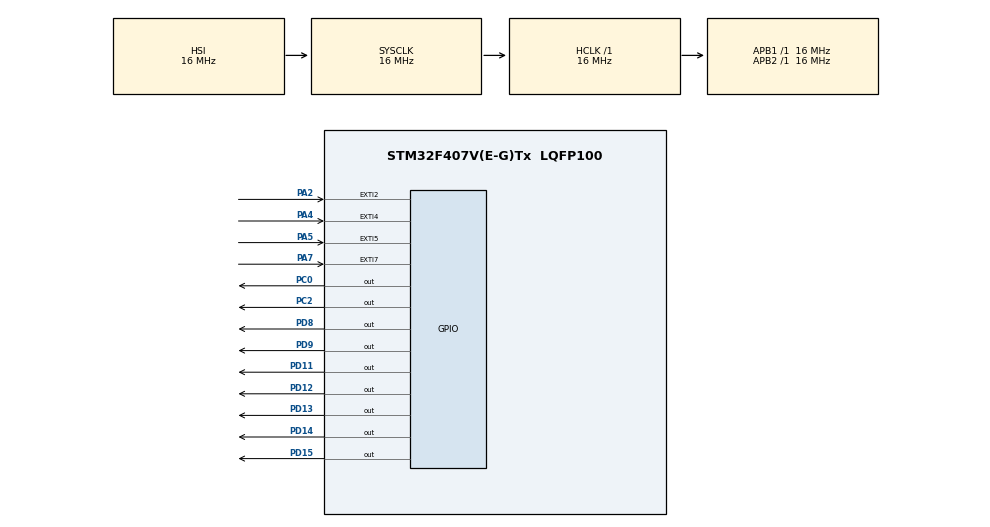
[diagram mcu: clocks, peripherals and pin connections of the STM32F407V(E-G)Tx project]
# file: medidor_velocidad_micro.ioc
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Mcu.Family=STM32F4
Mcu.Name=STM32F407V(E-G)Tx
Mcu.Package=LQFP100
NVIC.EXTI2_IRQn=true\:0\:0\:false\:false\:true\:true\:true\:true
NVIC.EXTI4_IRQn=true\:0\:0\:false\:false\:true\:true\:true\:true
NVIC.EXTI9_5_IRQn=true\:0\:0\:false\:false\:true\:true\:true\:true
NVIC.PriorityGroup=NVIC_PRIORITYGROUP_4
NVIC.TIM2_IRQn=true\:0\:0\:false\:false\:true\:true\:true\:true
NVIC.TIM8_TRG_COM_TIM14_IRQn=true\:0\:0\:false\:false\:true\:true\:true\:true
PA2.GPIO_ModeDefaultEXTI=GPIO_MODE_IT_FALLING
PA2.Signal=GPXTI2
PA4.GPIO_ModeDefaultEXTI=GPIO_MODE_IT_FALLING
PA4.Signal=GPXTI4
PA5.GPIO_ModeDefaultEXTI=GPIO_MODE_IT_FALLING
PA5.Signal=GPXTI5
PA7.Signal=GPXTI7
PB11.Signal=S_TIM2_CH4
PC0.Signal=GPIO_Output
PC2.Signal=GPIO_Output
PD11.Signal=GPIO_Output
PD12.Signal=GPIO_Output
PD13.Signal=GPIO_Output
PD14.Signal=GPIO_Output
PD15.Signal=GPIO_Output
PD8.Signal=GPIO_Output
PD9.Signal=GPIO_Output
ProjectManager.HeapSize=0x200
ProjectManager.StackSize=0x400
ProjectManager.TargetToolchain=STM32CubeIDE
RCC.AHBFreq_Value=16000000
RCC.APB1Freq_Value=16000000
RCC.APB2Freq_Value=16000000
RCC.CortexFreq_Value=16000000
RCC.HSE_VALUE=25000000
RCC.HSI_VALUE=16000000
RCC.LSE_VALUE=32768
RCC.SYSCLKFreq_VALUE=16000000
RCC.VCOOutputFreq_Value=192000000
SH.S_TIM2_CH4.0=TIM2_CH4
TIM14.Prescaler=15999
TIM2.Period=65535
TIM2.Prescaler=15999
VP_TIM14_VS_ClockSourceINT.Mode=Enable_Timer
VP_TIM2_VS_ClockSourceINT.Mode=Internal
board=custom

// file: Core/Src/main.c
/* USER CODE BEGIN Header */
/**
 ******************************************************************************
 * @file           : main.c
 * @brief          : Main program body
 ******************************************************************************
 * @attention
 *
 * Copyright (c) 2025 STMicroelectronics.
 * All rights reserved.
 *
 * This software is licensed under terms that can be found in the LICENSE file
 * in the root directory of this software component.
 * If no LICENSE file comes with this software, it is provided AS-IS.
 *
 ******************************************************************************
 */
/* USER CODE END Header */
#include "main.h"

/* USER CODE BEGIN Includes */
#include <stdio.h>
#include <stdbool.h>
#include "Statechart_required.h"
/* USER CODE END Includes */

/* USER CODE BEGIN PD */
#define LONGITUD_PISTA 100 // Dato dado por la catedra
#define TIEMPO_REBOTE 50 // Tiempo estimado de rebote 50ms
#define DIGITOS_DISPLAY 4
#define APAGADO 0xFF // Fuera del rango de un dígito
/* USER CODE END PD */

TIM_HandleTypeDef htim2;
TIM_HandleTypeDef htim14;

/* USER CODE BEGIN PV */
Statechart sc;
volatile bool solicitud_pendiente = false;
volatile bool filtrando = false;
volatile bool es_timeout_delay = false;
volatile uint32_t tiempo_inicio = 0; // Tiempo en el que se empieza a filtrar
volatile uint16_t boton_presionado = 0xFF; // Guarda el botón actual para el antirebote
volatile sc_eventid current_evid = 0;
volatile uint32_t tiempos[DIGITOS_DISPLAY];
volatile uint32_t tiempo_promedio;
volatile uint32_t velocidad_promedio;
volatile uint32_t tiempo_total;
volatile uint8_t display[DIGITOS_DISPLAY];
/* USER CODE END PV */

void SystemClock_Config(void);
static void MX_GPIO_Init(void);
static void MX_TIM2_Init(void);
static void MX_TIM14_Init(void);
/* USER CODE BEGIN PFP */
uint32_t get_tiempo_promedio(const Statechart* handle);
void set_display(uint32_t dato);
void codificar_digito_7seg(uint8_t digito);
void filtrar_rebotes(void);
/* USER CODE END PFP */

int main(void)
{

	/* MCU Configuration--------------------------------------------------------*/

	/* Reset of all peripherals, Initializes the Flash interface and the Systick. */
	HAL_Init();

	/* Configure the system clock */
	SystemClock_Config();

	/* Initialize all configured peripherals */
	MX_GPIO_Init();
	MX_TIM2_Init();
	MX_TIM14_Init();
	/* USER CODE BEGIN 2 */
	statechart_init(&sc); // Prepara la FSM para su ejecución
	statechart_enter(&sc);

	/* USER CODE END 2 */

	/* Infinite loop */
	while (1)
	{

		/* USER CODE BEGIN 3 */
		if (filtrando) {
			filtrar_rebotes();
		}

		// Si hubo una solicitud ejecutamos la operación del botón pulsado y luego reseteamos el flag de solicitud
		if (solicitud_pendiente) {
			switch (boton_presionado) {
			case GPIO_PIN_7: // Sensor activado
				statechart_raise_paso_el_auto(&sc);
				break;
			case GPIO_PIN_2:
				statechart_boton_raise_velocidad_pressed(&sc);
				break;
			case GPIO_PIN_4:
				statechart_boton_raise_tiempo_total_pressed(&sc);
				break;
			case GPIO_PIN_5:
				statechart_boton_raise_reinicio_pressed(&sc);
				break;
			default:
				break;
			}
			solicitud_pendiente = false;
		}
	}
	/* USER CODE END 3 */
}

void SystemClock_Config(void)
{
	RCC_OscInitTypeDef RCC_OscInitStruct = {0};
	RCC_ClkInitTypeDef RCC_ClkInitStruct = {0};

	/** Configure the main internal regulator output voltage
	 */
	__HAL_RCC_PWR_CLK_ENABLE();
	__HAL_PWR_VOLTAGESCALING_CONFIG(PWR_REGULATOR_VOLTAGE_SCALE1);

	/** Initializes the RCC Oscillators according to the specified parameters
	 * in the RCC_OscInitTypeDef structure.
	 */
	RCC_OscInitStruct.OscillatorType = RCC_OSCILLATORTYPE_HSI;
	RCC_OscInitStruct.HSIState = RCC_HSI_ON;
	RCC_OscInitStruct.HSICalibrationValue = RCC_HSICALIBRATION_DEFAULT;
	RCC_OscInitStruct.PLL.PLLState = RCC_PLL_NONE;
	if (HAL_RCC_OscConfig(&RCC_OscInitStruct) != HAL_OK)
	{
		Error_Handler();
	}

	/** Initializes the CPU, AHB and APB buses clocks
	 */
	RCC_ClkInitStruct.ClockType = RCC_CLOCKTYPE_HCLK|RCC_CLOCKTYPE_SYSCLK
			|RCC_CLOCKTYPE_PCLK1|RCC_CLOCKTYPE_PCLK2;
	RCC_ClkInitStruct.SYSCLKSource = RCC_SYSCLKSOURCE_HSI;
	RCC_ClkInitStruct.AHBCLKDivider = RCC_SYSCLK_DIV1;
	RCC_ClkInitStruct.APB1CLKDivider = RCC_HCLK_DIV1;
	RCC_ClkInitStruct.APB2CLKDivider = RCC_HCLK_DIV1;

	if (HAL_RCC_ClockConfig(&RCC_ClkInitStruct, FLASH_LATENCY_0) != HAL_OK)
	{
		Error_Handler();
	}
}

static void MX_TIM2_Init(void)
{

	TIM_ClockConfigTypeDef sClockSourceConfig = {0};
	TIM_MasterConfigTypeDef sMasterConfig = {0};

	htim2.Instance = TIM2;
	htim2.Init.Prescaler = 15999;
	htim2.Init.CounterMode = TIM_COUNTERMODE_UP;
	htim2.Init.Period = 65535;
	htim2.Init.ClockDivision = TIM_CLOCKDIVISION_DIV1;
	htim2.Init.AutoReloadPreload = TIM_AUTORELOAD_PRELOAD_DISABLE;
	if (HAL_TIM_Base_Init(&htim2) != HAL_OK)
	{
		Error_Handler();
	}
	sClockSourceConfig.ClockSource = TIM_CLOCKSOURCE_INTERNAL;
	if (HAL_TIM_ConfigClockSource(&htim2, &sClockSourceConfig) != HAL_OK)
	{
		Error_Handler();
	}
	sMasterConfig.MasterOutputTrigger = TIM_TRGO_RESET;
	sMasterConfig.MasterSlaveMode = TIM_MASTERSLAVEMODE_DISABLE;
	if (HAL_TIMEx_MasterConfigSynchronization(&htim2, &sMasterConfig) != HAL_OK)
	{
		Error_Handler();
	}

}

static void MX_TIM14_Init(void)
{

	htim14.Instance = TIM14;
	htim14.Init.Prescaler = 15999;
	htim14.Init.CounterMode = TIM_COUNTERMODE_UP;
	htim14.Init.Period = 65535;
	htim14.Init.ClockDivision = TIM_CLOCKDIVISION_DIV1;
	htim14.Init.AutoReloadPreload = TIM_AUTORELOAD_PRELOAD_DISABLE;
	if (HAL_TIM_Base_Init(&htim14) != HAL_OK)
	{
		Error_Handler();
	}

}

static void MX_GPIO_Init(void)
{
	GPIO_InitTypeDef GPIO_InitStruct = {0};

	/* GPIO Ports Clock Enable */
	__HAL_RCC_GPIOC_CLK_ENABLE();
	__HAL_RCC_GPIOA_CLK_ENABLE();
	__HAL_RCC_GPIOB_CLK_ENABLE();
	__HAL_RCC_GPIOD_CLK_ENABLE();

	/*Configure GPIO pin Output Level */
	HAL_GPIO_WritePin(GPIOC, GPIO_PIN_0|GPIO_PIN_2, GPIO_PIN_RESET);

	/*Configure GPIO pin Output Level */
	HAL_GPIO_WritePin(GPIOD, GPIO_PIN_8|GPIO_PIN_9|GPIO_PIN_11|GPIO_PIN_12
			|GPIO_PIN_13|GPIO_PIN_14|GPIO_PIN_15, GPIO_PIN_RESET);

	/*Configure GPIO pins : PC0 PC2 */
	GPIO_InitStruct.Pin = GPIO_PIN_0|GPIO_PIN_2;
	GPIO_InitStruct.Mode = GPIO_MODE_OUTPUT_PP;
	GPIO_InitStruct.Pull = GPIO_NOPULL;
	GPIO_InitStruct.Speed = GPIO_SPEED_FREQ_LOW;
	HAL_GPIO_Init(GPIOC, &GPIO_InitStruct);

	/*Configure GPIO pins : PA2 PA4 PA5 */
	GPIO_InitStruct.Pin = GPIO_PIN_2|GPIO_PIN_4|GPIO_PIN_5;
	GPIO_InitStruct.Mode = GPIO_MODE_IT_FALLING;
	GPIO_InitStruct.Pull = GPIO_NOPULL;
	HAL_GPIO_Init(GPIOA, &GPIO_InitStruct);

	/*Configure GPIO pin : PA7 */
	GPIO_InitStruct.Pin = GPIO_PIN_7;
	GPIO_InitStruct.Mode = GPIO_MODE_IT_RISING;
	GPIO_InitStruct.Pull = GPIO_NOPULL;
	HAL_GPIO_Init(GPIOA, &GPIO_InitStruct);

	/*Configure GPIO pins : PD8 PD9 PD11 PD12
                           PD13 PD14 PD15 */
	GPIO_InitStruct.Pin = GPIO_PIN_8|GPIO_PIN_9|GPIO_PIN_11|GPIO_PIN_12
			|GPIO_PIN_13|GPIO_PIN_14|GPIO_PIN_15;
	GPIO_InitStruct.Mode = GPIO_MODE_OUTPUT_PP;
	GPIO_InitStruct.Pull = GPIO_NOPULL;
	GPIO_InitStruct.Speed = GPIO_SPEED_FREQ_LOW;
	HAL_GPIO_Init(GPIOD, &GPIO_InitStruct);

	/* EXTI interrupt init*/
	HAL_NVIC_SetPriority(EXTI2_IRQn, 0, 0);
	HAL_NVIC_EnableIRQ(EXTI2_IRQn);

	HAL_NVIC_SetPriority(EXTI4_IRQn, 0, 0);
	HAL_NVIC_EnableIRQ(EXTI4_IRQn);

	HAL_NVIC_SetPriority(EXTI9_5_IRQn, 0, 0);
	HAL_NVIC_EnableIRQ(EXTI9_5_IRQn);

}

/* USER CODE BEGIN 4 */
void statechart_iniciar_timer(Statechart* handle) {
	HAL_TIM_Base_Start(&htim2); // Inicio el Temporizador
	__HAL_TIM_SET_COUNTER(&htim2, 0);
	//	__HAL_TIM_SetAutoreload(&htim14);
}

void statechart_reiniciar_display(Statechart* handle) {
	for (uint8_t i= 0; i < DIGITOS_DISPLAY; i++) {
		display[i] = 0;
	}

	HAL_GPIO_WritePin(GPIOC, GPIO_PIN_2, GPIO_PIN_SET);
	HAL_GPIO_WritePin(GPIOC, GPIO_PIN_0, GPIO_PIN_SET);
	codificar_digito_7seg(APAGADO);

	HAL_GPIO_WritePin(GPIOC, GPIO_PIN_2, GPIO_PIN_SET);
	HAL_GPIO_WritePin(GPIOC, GPIO_PIN_0, GPIO_PIN_RESET);
	codificar_digito_7seg(APAGADO);

	HAL_GPIO_WritePin(GPIOC, GPIO_PIN_2, GPIO_PIN_RESET);
	HAL_GPIO_WritePin(GPIOC, GPIO_PIN_0, GPIO_PIN_SET);
	codificar_digito_7seg(APAGADO);

	HAL_GPIO_WritePin(GPIOC, GPIO_PIN_2, GPIO_PIN_RESET);
	HAL_GPIO_WritePin(GPIOC, GPIO_PIN_0, GPIO_PIN_RESET);
	codificar_digito_7seg(APAGADO);
}

void statechart_reiniciar_timer(Statechart* handle) {
	HAL_TIM_Base_Stop(&htim2);
	__HAL_TIM_SET_COUNTER(&htim2, 0);
}

void statechart_registrar_tiempo(Statechart* handle) {
	uint32_t tiempo_actual = __HAL_TIM_GET_COUNTER(&htim2) / 1000; // Registro el tiempo de cada vuelta en segundos.
	__HAL_TIM_SET_COUNTER(&htim2, 0);
	tiempos[statechart_get_cantidad_vueltas(handle)] = tiempo_actual; // Obtener cantidad de vueltas de interface de statechart
	set_display(tiempo_actual);
}

void statechart_registrar_velocidad(Statechart* handle) {
	tiempo_promedio = get_tiempo_promedio(handle);
	velocidad_promedio = LONGITUD_PISTA / tiempo_promedio;
	set_display(velocidad_promedio);
}

void statechart_mostrar_velocidad(Statechart* handle) {
	set_display(velocidad_promedio);
}

void statechart_mostrar_tiempo_total(Statechart* handle) {
	set_display(tiempo_total);
}

void statechart_set_timer(Statechart* handle, const sc_eventid evid, const sc_time time_ms, const sc_boolean periodic)
{
	current_evid = evid;
	__HAL_TIM_SET_AUTORELOAD(&htim14, time_ms); // Establece el periodo con el dato del delay de StateChart
	HAL_TIM_Base_Start_IT(&htim14); // Activa el temporizador con interrupcion
}

void statechart_unset_timer(Statechart* handle, const sc_eventid evid)
{
	HAL_TIM_Base_Stop_IT(&htim14);
	__HAL_TIM_CLEAR_IT(&htim14, TIM_IT_UPDATE);
	current_evid = 0;
}

void statechart_prender_LED1(Statechart* handle) {
	HAL_GPIO_WritePin(GPIOC, GPIO_PIN_2, GPIO_PIN_SET);
	HAL_GPIO_WritePin(GPIOC, GPIO_PIN_0, GPIO_PIN_SET);
	codificar_digito_7seg(display[0]);
}

void statechart_prender_LED2(Statechart* handle) {
	HAL_GPIO_WritePin(GPIOC, GPIO_PIN_2, GPIO_PIN_SET);
	HAL_GPIO_WritePin(GPIOC, GPIO_PIN_0, GPIO_PIN_RESET);
	codificar_digito_7seg(display[1]);
}

void statechart_prender_LED3(Statechart* handle) {
	HAL_GPIO_WritePin(GPIOC, GPIO_PIN_2, GPIO_PIN_RESET);
	HAL_GPIO_WritePin(GPIOC, GPIO_PIN_0, GPIO_PIN_SET);
	codificar_digito_7seg(display[2]);
}

void statechart_prender_LED4(Statechart* handle) {
	HAL_GPIO_WritePin(GPIOC, GPIO_PIN_2, GPIO_PIN_RESET);
	HAL_GPIO_WritePin(GPIOC, GPIO_PIN_0, GPIO_PIN_RESET);
	codificar_digito_7seg(display[3]);
}

// Código que se ejecuta cuando se detecta la interrupción
void HAL_GPIO_EXTI_Callback(uint16_t GPIO_Pin)
{
	if (!filtrando) {
		tiempo_inicio = HAL_GetTick();
		boton_presionado = GPIO_Pin;
		filtrando = true;
	}
}

void HAL_TIM_PeriodElapsedCallback(TIM_HandleTypeDef* htim)
{
	if (htim->Instance == TIM14) {
		statechart_raise_time_event(&sc, current_evid);
	}
}

// Filtramos los rebotes
void filtrar_rebotes(void) {
	uint32_t tiempo_actual = HAL_GetTick();
	bool boton_estable = (tiempo_actual - tiempo_inicio) >= TIEMPO_REBOTE;
	if (boton_estable) {
		GPIO_PinState estado_boton = HAL_GPIO_ReadPin(GPIOA, boton_presionado);
		// Si está presionado consideramos que hay una solicitud para avanzar en la secuencia
		if (estado_boton == GPIO_PIN_RESET) {
			// Indicamos que hay una solicitud
			solicitud_pendiente = true;
		}
		filtrando = false;
	}
}

void codificar_digito_7seg(uint8_t digito) {
	switch (digito) {
	case 0:
		HAL_GPIO_WritePin(GPIOD, GPIO_PIN_14, GPIO_PIN_SET);
		HAL_GPIO_WritePin(GPIOD, GPIO_PIN_8, GPIO_PIN_SET);
		HAL_GPIO_WritePin(GPIOD, GPIO_PIN_11, GPIO_PIN_SET);
		HAL_GPIO_WritePin(GPIOD, GPIO_PIN_9, GPIO_PIN_SET);
		HAL_GPIO_WritePin(GPIOD, GPIO_PIN_13, GPIO_PIN_SET);
		HAL_GPIO_WritePin(GPIOD, GPIO_PIN_15, GPIO_PIN_SET);
		HAL_GPIO_WritePin(GPIOD, GPIO_PIN_12, GPIO_PIN_RESET);
		break;
	case 1:
		HAL_GPIO_WritePin(GPIOD, GPIO_PIN_8, GPIO_PIN_SET);
		HAL_GPIO_WritePin(GPIOD, GPIO_PIN_11, GPIO_PIN_SET);
		HAL_GPIO_WritePin(GPIOD, GPIO_PIN_14, GPIO_PIN_RESET);
		HAL_GPIO_WritePin(GPIOD, GPIO_PIN_15, GPIO_PIN_RESET);
		HAL_GPIO_WritePin(GPIOD, GPIO_PIN_12, GPIO_PIN_RESET);
		HAL_GPIO_WritePin(GPIOD, GPIO_PIN_13, GPIO_PIN_RESET);
		HAL_GPIO_WritePin(GPIOD, GPIO_PIN_9, GPIO_PIN_RESET);
		break;
	case 2:
		HAL_GPIO_WritePin(GPIOD, GPIO_PIN_14, GPIO_PIN_SET);
		HAL_GPIO_WritePin(GPIOD, GPIO_PIN_8, GPIO_PIN_SET);
		HAL_GPIO_WritePin(GPIOD, GPIO_PIN_12, GPIO_PIN_SET);
		HAL_GPIO_WritePin(GPIOD, GPIO_PIN_13, GPIO_PIN_SET);
		HAL_GPIO_WritePin(GPIOD, GPIO_PIN_9, GPIO_PIN_SET);
		HAL_GPIO_WritePin(GPIOD, GPIO_PIN_15, GPIO_PIN_RESET);
		HAL_GPIO_WritePin(GPIOD, GPIO_PIN_11, GPIO_PIN_RESET);
		break;
	case 3:
		HAL_GPIO_WritePin(GPIOD, GPIO_PIN_14, GPIO_PIN_SET);
		HAL_GPIO_WritePin(GPIOD, GPIO_PIN_8, GPIO_PIN_SET);
		HAL_GPIO_WritePin(GPIOD, GPIO_PIN_12, GPIO_PIN_SET);
		HAL_GPIO_WritePin(GPIOD, GPIO_PIN_11, GPIO_PIN_SET);
		HAL_GPIO_WritePin(GPIOD, GPIO_PIN_9, GPIO_PIN_SET);
		HAL_GPIO_WritePin(GPIOD, GPIO_PIN_13, GPIO_PIN_RESET);
		HAL_GPIO_WritePin(GPIOD, GPIO_PIN_15, GPIO_PIN_RESET);
		break;
	case 4:
		HAL_GPIO_WritePin(GPIOD, GPIO_PIN_15, GPIO_PIN_SET);
		HAL_GPIO_WritePin(GPIOD, GPIO_PIN_12, GPIO_PIN_SET);
		HAL_GPIO_WritePin(GPIOD, GPIO_PIN_8, GPIO_PIN_SET);
		HAL_GPIO_WritePin(GPIOD, GPIO_PIN_11, GPIO_PIN_SET);
		HAL_GPIO_WritePin(GPIOD, GPIO_PIN_14, GPIO_PIN_RESET);
		HAL_GPIO_WritePin(GPIOD, GPIO_PIN_9, GPIO_PIN_RESET);
		HAL_GPIO_WritePin(GPIOD, GPIO_PIN_13, GPIO_PIN_RESET);

		break;
	case 5:
		HAL_GPIO_WritePin(GPIOD, GPIO_PIN_14, GPIO_PIN_SET);
		HAL_GPIO_WritePin(GPIOD, GPIO_PIN_15, GPIO_PIN_SET);
		HAL_GPIO_WritePin(GPIOD, GPIO_PIN_12, GPIO_PIN_SET);
		HAL_GPIO_WritePin(GPIOD, GPIO_PIN_11, GPIO_PIN_SET);
		HAL_GPIO_WritePin(GPIOD, GPIO_PIN_9, GPIO_PIN_SET);
		HAL_GPIO_WritePin(GPIOD, GPIO_PIN_8, GPIO_PIN_RESET);
		HAL_GPIO_WritePin(GPIOD, GPIO_PIN_13, GPIO_PIN_RESET);
		break;
	case 6:
		HAL_GPIO_WritePin(GPIOD, GPIO_PIN_14, GPIO_PIN_SET);
		HAL_GPIO_WritePin(GPIOD, GPIO_PIN_15, GPIO_PIN_SET);
		HAL_GPIO_WritePin(GPIOD, GPIO_PIN_12, GPIO_PIN_SET);
		HAL_GPIO_WritePin(GPIOD, GPIO_PIN_11, GPIO_PIN_SET);
		HAL_GPIO_WritePin(GPIOD, GPIO_PIN_9, GPIO_PIN_SET);
		HAL_GPIO_WritePin(GPIOD, GPIO_PIN_13, GPIO_PIN_SET);
		HAL_GPIO_WritePin(GPIOD, GPIO_PIN_8, GPIO_PIN_RESET);
		break;
	case 7:
		HAL_GPIO_WritePin(GPIOD, GPIO_PIN_14, GPIO_PIN_SET);
		HAL_GPIO_WritePin(GPIOD, GPIO_PIN_8, GPIO_PIN_SET);
		HAL_GPIO_WritePin(GPIOD, GPIO_PIN_11, GPIO_PIN_SET);
		HAL_GPIO_WritePin(GPIOD, GPIO_PIN_9, GPIO_PIN_RESET);
		HAL_GPIO_WritePin(GPIOD, GPIO_PIN_13, GPIO_PIN_RESET);
		HAL_GPIO_WritePin(GPIOD, GPIO_PIN_15, GPIO_PIN_RESET);
		HAL_GPIO_WritePin(GPIOD, GPIO_PIN_12, GPIO_PIN_RESET);
		break;
	case 8:
		HAL_GPIO_WritePin(GPIOD, GPIO_PIN_14, GPIO_PIN_SET);
		HAL_GPIO_WritePin(GPIOD, GPIO_PIN_8, GPIO_PIN_SET);
		HAL_GPIO_WritePin(GPIOD, GPIO_PIN_11, GPIO_PIN_SET);
		HAL_GPIO_WritePin(GPIOD, GPIO_PIN_9, GPIO_PIN_SET);
		HAL_GPIO_WritePin(GPIOD, GPIO_PIN_13, GPIO_PIN_SET);
		HAL_GPIO_WritePin(GPIOD, GPIO_PIN_15, GPIO_PIN_SET);
		HAL_GPIO_WritePin(GPIOD, GPIO_PIN_12, GPIO_PIN_SET);
		break;
	case 9:
		HAL_GPIO_WritePin(GPIOD, GPIO_PIN_14, GPIO_PIN_SET);
		HAL_GPIO_WritePin(GPIOD, GPIO_PIN_8, GPIO_PIN_SET);
		HAL_GPIO_WritePin(GPIOD, GPIO_PIN_12, GPIO_PIN_SET);
		HAL_GPIO_WritePin(GPIOD, GPIO_PIN_15, GPIO_PIN_SET);
		HAL_GPIO_WritePin(GPIOD, GPIO_PIN_11, GPIO_PIN_SET);
		HAL_GPIO_WritePin(GPIOD, GPIO_PIN_9, GPIO_PIN_SET);
		HAL_GPIO_WritePin(GPIOD, GPIO_PIN_13, GPIO_PIN_RESET);
		break;
	case APAGADO:
	default:
		HAL_GPIO_WritePin(GPIOD, GPIO_PIN_14, GPIO_PIN_RESET);
		HAL_GPIO_WritePin(GPIOD, GPIO_PIN_8, GPIO_PIN_RESET);
		HAL_GPIO_WritePin(GPIOD, GPIO_PIN_12, GPIO_PIN_RESET);
		HAL_GPIO_WritePin(GPIOD, GPIO_PIN_15, GPIO_PIN_RESET);
		HAL_GPIO_WritePin(GPIOD, GPIO_PIN_11, GPIO_PIN_RESET);
		HAL_GPIO_WritePin(GPIOD, GPIO_PIN_9, GPIO_PIN_RESET);
		HAL_GPIO_WritePin(GPIOD, GPIO_PIN_13, GPIO_PIN_RESET);
		break;
	}
}

void set_display(uint32_t dato) {
	// Si tengo más dígitos que los que entran, trunco los menos significativos
	uint8_t cantidad_digitos = 1;
	uint32_t aux = dato;
	while (aux >= 10) {
		aux /= 10;
		cantidad_digitos++;
	}

	if (cantidad_digitos > DIGITOS_DISPLAY) {
		uint8_t sobra = cantidad_digitos - DIGITOS_DISPLAY;
		// Dejo los dígitos más significativos
		while (sobra--) {
			dato /= 10;
		}
	}

	for (int i = DIGITOS_DISPLAY - 1; i >= 0; i--) {
		display[i] = (uint8_t)(dato % 10);
		dato /= 10;
	}

	int i = 0;
	while (i < (DIGITOS_DISPLAY - 1) && display[i] == 0) {
		display[i++] = APAGADO;
	}
}

uint32_t get_tiempo_promedio(const Statechart* handle) {
	uint32_t resultado = 0;
	tiempo_total = 0;
	uint32_t total_vueltas = statechart_get_total_vueltas(handle);
	for (uint32_t i = 0; i < total_vueltas; i++) {
		tiempo_total += tiempos[i];
	}
	resultado = tiempo_total / total_vueltas;
	return resultado;
}
/* USER CODE END 4 */

void Error_Handler(void)
{
	__disable_irq();
	while (1)
	{
	}
}
